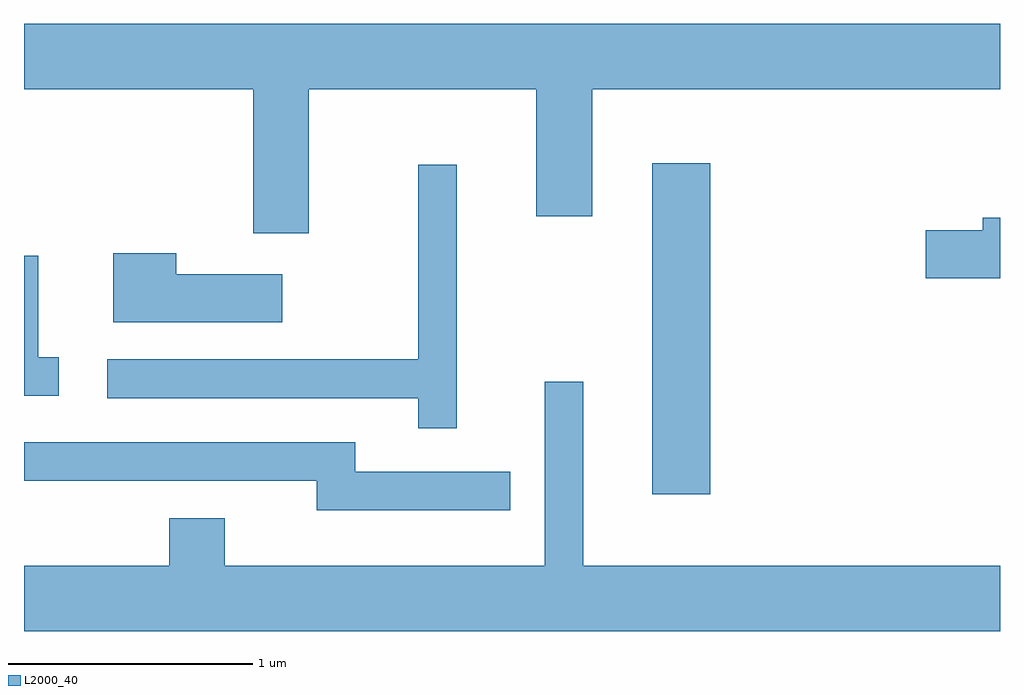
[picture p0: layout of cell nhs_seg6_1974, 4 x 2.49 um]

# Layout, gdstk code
import gdstk
lib = gdstk.Library(unit=1e-6, precision=1e-09)
def R(c, l, rs):  # rectangles x0, y0, x1, y1
    for r in rs: c.add(gdstk.rectangle(r[:2], r[2:], *l))
def P(c, l, *ps):  # polygons
    for p in ps: c.add(gdstk.Polygon(p, *l))
L2000_40 = (2000, 40)

nhs_seg6_1974 = lib.new_cell('nhs_seg6_1974')
R(nhs_seg6_1974, L2000_40, [(248.186,1559.476,248.424,1560.834)])
P(nhs_seg6_1974, L2000_40, [(246.779,1561.136),(247.711,1561.136),(247.711,1560.616),(247.939,1560.616),(247.939,1561.136),(249.611,1561.136),(249.611,1561.404),(245.611,1561.404),(245.611,1561.136),(246.551,1561.136),(246.551,1560.546),(246.779,1560.546)],
  [(247.384,1560.828),(247.226,1560.828),(247.226,1560.029),(245.953,1560.029),(245.953,1559.871),(247.226,1559.871),(247.226,1559.748),(247.384,1559.748)],
  [(249.611,1560.609),(249.541,1560.609),(249.541,1560.559),(249.306,1560.559),(249.306,1560.361),(249.611,1560.361)],
  [(246.669,1560.379),(246.234,1560.379),(246.234,1560.464),(245.976,1560.464),(245.976,1560.181),(246.669,1560.181)],
  [(245.753,1560.039),(245.669,1560.039),(245.669,1560.454),(245.611,1560.454),(245.611,1559.881),(245.753,1559.881)],
  [(246.206,1559.379),(246.206,1559.184),(245.611,1559.184),(245.611,1558.916),(249.611,1558.916),(249.611,1559.184),(247.904,1559.184),(247.904,1559.938),(247.746,1559.938),(247.746,1559.184),(246.434,1559.184),(246.434,1559.379)],
  [(247.603,1559.569),(246.969,1559.569),(246.969,1559.689),(245.611,1559.689),(245.611,1559.531),(246.811,1559.531),(246.811,1559.411),(247.603,1559.411)])

lib.write_gds('nhs_seg6_1974.gds')
